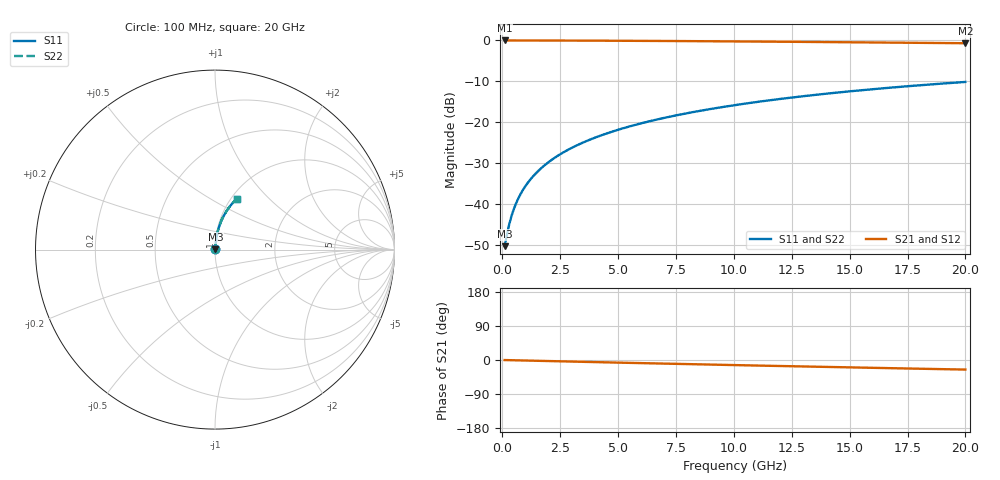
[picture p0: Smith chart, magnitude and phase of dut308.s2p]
! Touchstone file exported from HFSS 2024.1.0
!  File:  C:/UserFiles/LocalFiles/RDL_TSV_Batchsim/temp_RDL_bottom_308_1779610499.aedt
!  Generated:  04:17:59 PM May 24, 2026
!  Design:  RDL_bottom
!  Project:  temp_RDL_bottom_308_1779610499
!  Setup:  Setup1
!  Solution:  Sweep
! Variables:
!  dtsv = 10.80580581um
!  hbump = 3um
!  htsv = 86.81um
!  ldown = 301.75um
!  lrdl = 100um
!  p = 40
!  p1 = 44.72um
!  rhole = 1um
!  t = 450um
!  tdown = 3.64um
!  trdl = 3.915915916um
!  wdown = 12.15um
!  wrdl = 20um
# GHz S MA R 50.000000
! Terminal data exported
! Port[1] = RDL1_T1
! Port[2] = RDL1_T2
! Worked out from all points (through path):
!   200 points, 100 MHz to 20 GHz, reference 50 ohm
!   highest |S21| = -0.02 dB at 100 MHz (marker M1); lowest = -0.7 dB at 20 GHz (marker M2)
!   group delay of S21, straight-line fit = 3.5 ps
!   lowest |S11| = -50.3 dB at 100 MHz (marker M3), VSWR 1.01, Z = 50.3 + j0.168 ohm
!   |S11| at or under -10 dB: start of sweep to end of sweep
!   |S22| runs from -50.3 to -10.2 dB; largest |S21 - S12| = 3.1e-15
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0.1  0.003041 33.4  0.9975 -0.1  0.9975 -0.1  0.003041 33.4
! Gamma 0 0 0 0
! Port Impedance 50 0 50 0
0.2  0.004217 52.3  0.9974 -0.3  0.9974 -0.3  0.004217 52.3
0.3  0.005638 62.1  0.9974 -0.4  0.9974 -0.4  0.005638 62.1
0.4  0.007144 67.8  0.9973 -0.6  0.9973 -0.6  0.007144 67.8
0.5  0.008685 71.4  0.9972 -0.7  0.9972 -0.7  0.008685 71.4
0.6  0.01024 73.9  0.9971 -0.9  0.9971 -0.9  0.01024 73.9
0.8  0.01337 77.1  0.997 -1.1  0.997 -1.1  0.01337 77.1
1.1  0.01811 79.8  0.9967 -1.6  0.9967 -1.6  0.01811 79.8
1.5  0.02446 81.6  0.9964 -2.1  0.9964 -2.1  0.02446 81.6
1.8  0.02925 82.4  0.996 -2.5  0.996 -2.5  0.02925 82.4
2.1  0.03404 82.9  0.9956 -2.9  0.9956 -2.9  0.03404 82.9
2.7  0.04366 83.3  0.9947 -3.8  0.9947 -3.8  0.04366 83.3
3.5  0.05652 83.3  0.9932 -4.9  0.9932 -4.9  0.05652 83.3
4.2  0.06778 83.0  0.9916 -5.8  0.9916 -5.8  0.06778 83.0
5  0.08066 82.6  0.9894 -6.9  0.9894 -6.9  0.08066 82.6
5.9  0.09514 81.9  0.9867 -8.1  0.9867 -8.1  0.09515 81.9
6.8  0.1096 81.1  0.9837 -9.3  0.9837 -9.3  0.1096 81.1
8.3  0.1337 79.6  0.9782 -11.3  0.9782 -11.3  0.1337 79.6
10.1  0.1623 77.8  0.971 -13.5  0.971 -13.5  0.1623 77.8
13.4  0.2138 74.1  0.9561 -17.6  0.9561 -17.6  0.2138 74.1
16.7  0.2632 70.3  0.9398 -21.5  0.9398 -21.5  0.2632 70.3
20  0.31 66.6  0.9223 -25.3  0.9223 -25.3  0.3101 66.6
